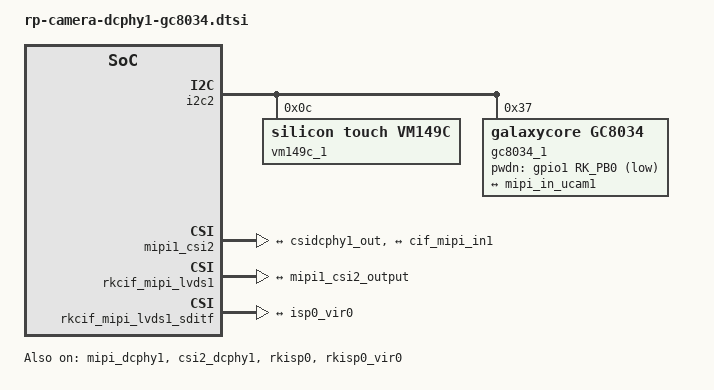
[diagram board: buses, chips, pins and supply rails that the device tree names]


&i2c2 {
    status = "okay";
    pinctrl-names = "default";
    pinctrl-0 = <&i2c2m4_xfer>;

vm149c_1: vm149c_1@0c {
        compatible = "silicon touch,vm149c";
        status = "okay";
        reg = <0x0c>;
        rockchip,vcm-start-current = <20>; // 马达的启动电流
        rockchip,vcm-rated-current = <100>; // 马达的额定电流
        rockchip,vcm-step-mode = <13>; // 马达驱动 ic 的电流输出模式
        rockchip,camera-module-index = <1>; // 模组编号
        rockchip,camera-module-facing = "front"; // 模组朝向，有"back"和"front"
};

  
    gc8034_1: gc8034_1@37 {
        compatible = "galaxycore,gc8034";
        status = "okay";
        reg = <0x37>;
        clocks = <&cru CLK_MIPI_CAMARAOUT_M2>;
        clock-names = "xvclk";
        power-domains = <&power RK3588_PD_VI>;
        pinctrl-names = "default";
        pinctrl-0 = <&mipim0_camera2_clk>;
        rockchip,grf = <&sys_grf>;
        pwdn-gpios = <&gpio1 RK_PB0 GPIO_ACTIVE_LOW>;
        rockchip,camera-module-index = <1>;
        rockchip,camera-module-facing = "front";
        rockchip,camera-module-name = "RK-CMK-8M-2-v1";
        rockchip,camera-module-lens-name = "CK8401-4";        
        lens-focus = <&vm149c_1>;
         port {
            gc8034_out1: endpoint {
                remote-endpoint = <&mipi_in_ucam1>;
                data-lanes = <1 2 3 4>;
            };
        };
    };
};


&mipi_dcphy1 {
    status = "okay";
};

&csi2_dcphy1 {
    status = "okay";

    ports {
        #address-cells = <1>;
        #size-cells = <0>;
    port@0 {
            reg = <0>;
            #address-cells = <1>;
            #size-cells = <0>;

            mipi_in_ucam1: endpoint@1 {
                reg = <1>;
                remote-endpoint = <&gc8034_out1>;
        data-lanes = <1 2 3 4>;
            };
        };

        port@1 {
            reg = <1>;
            #address-cells = <1>;
            #size-cells = <0>;

            csidcphy1_out: endpoint@0 {
                reg = <0>;
                remote-endpoint = <&mipi1_csi2_input>;
            };
        };
    };
};

&mipi1_csi2 {
    status = "okay";

    ports {
        #address-cells = <1>;
        #size-cells = <0>;

        port@0 {
            reg = <0>;
            #address-cells = <1>;
            #size-cells = <0>;

            mipi1_csi2_input: endpoint@0 {
                reg = <0>;
                remote-endpoint = <&csidcphy1_out>;
            };
        };

        port@1 {
            reg = <1>;
            #address-cells = <1>;
            #size-cells = <0>;

            mipi1_csi2_output: endpoint@1 {
                reg = <1>;
                remote-endpoint = <&cif_mipi_in1>;
            };
        };
    };
};

&rkcif_mipi_lvds1 {
    status = "okay";

    port {
        cif_mipi_in1: endpoint {
            remote-endpoint = <&mipi1_csi2_output>;
        };
    };
};

&rkcif_mipi_lvds1_sditf {
    status = "okay";

    port {
        mipi_lvds1_sditf: endpoint {
            remote-endpoint = <&isp0_vir0>;
        };
    };
};

&rkisp0 {
    status = "okay";
};

&isp0_mmu {
    status = "okay";
};

&rkisp0_vir0 {
    status = "okay";
    port {
        #address-cells = <1>;
        #size-cells = <0>;

        isp0_vir0: endpoint@0 {
            reg = <0>;
            remote-endpoint = <&mipi_lvds1_sditf>;
        };
    };
};

